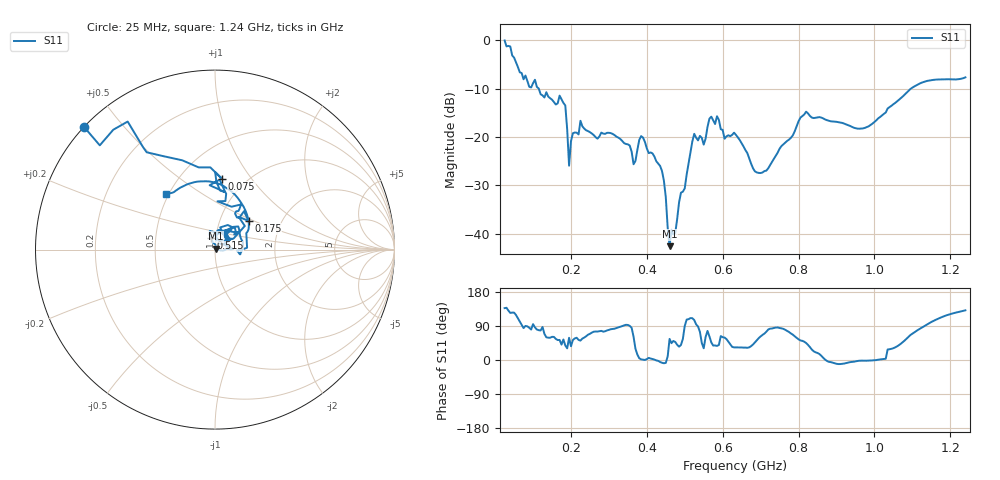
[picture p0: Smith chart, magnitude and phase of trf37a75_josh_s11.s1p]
!Created with skrf (http://scikit-rf.org).
# Hz S RI R 50.0
!freq ReS11 ImS11
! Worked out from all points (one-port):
!   244 points, 25 MHz to 1.24 GHz, reference 50 ohm
!   lowest |S11| = -42.6 dB at 460 MHz (marker M1), VSWR 1.01, Z = 50.4 + j0.617 ohm
!   |S11| at or under -10 dB: 115.1 MHz to 1.096 GHz (981.3 MHz wide, 162 % of centre)
!   S11 on the Smith chart (normalised r, x): 25 MHz: 0.00, +0.39; 75 MHz: 0.78, +0.73; 175 MHz: 1.37, +0.47; 515 MHz: 0.95, +0.12; 1.24 GHz: 0.48, +0.36
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2.5e7  -0.7281 0.6815
7.5e7  0.0398 0.3933
1.75e8  0.1868 0.1601
1.8e8  0.1317 0.1826
1.85e8  0.1662 0.1318
1.95e8  0.0262 0.0431
2.05e8  0.0662 0.0869
2.25e8  0.0923 0.1145
3.3e8  0.00398 0.0952
3.65e8  0.025 0.0458
3.85e8  0.1021 0.00289
4.35e8  0.0499 -0.00462
4.45e8  0.0349 -0.00522
4.6e8  0.00418 0.00612
4.75e8  0.00686 0.00749
4.85e8  0.0172 0.0121
5.15e8  -0.0241 0.064
5.25e8  -0.0286 0.1038
5.5e8  0.0714 0.0428
5.7e8  0.1118 0.1175
6.35e8  0.0878 0.0578
7e8  0.0198 0.0374
7.85e8  0.0409 0.0954
8.2e8  0.1295 0.1288
9.4e8  0.1272 -0.0113
1.03e9  0.1788 0.0104
1.09e9  0.1447 0.2624
1.24e9  -0.2721 0.3118
